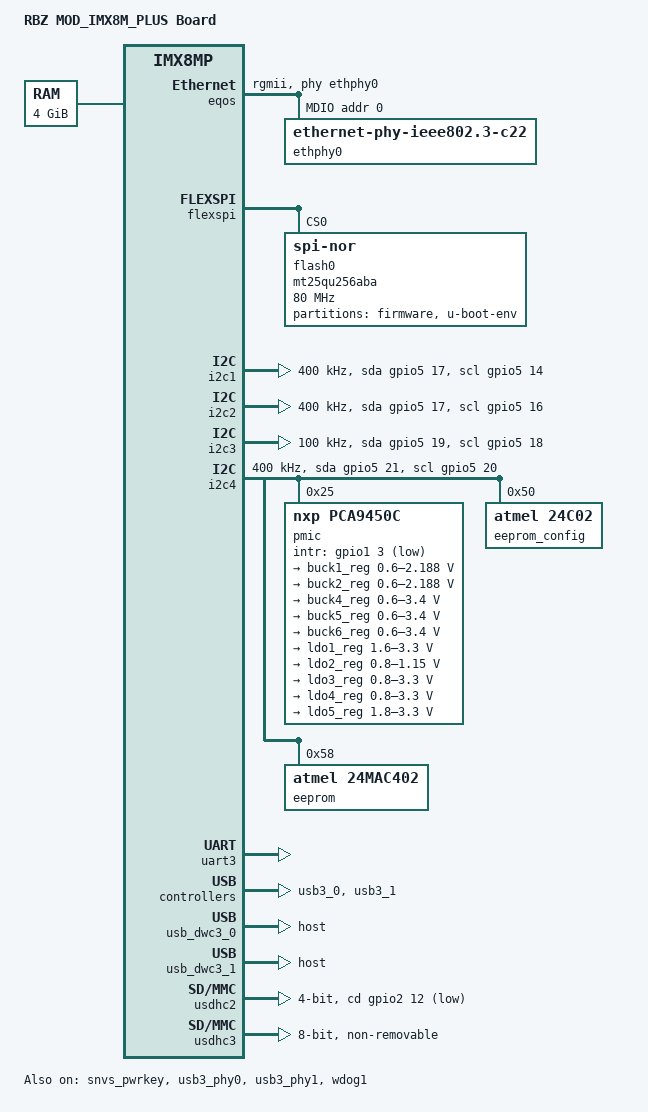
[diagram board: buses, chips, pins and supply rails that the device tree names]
// SPDX-License-Identifier: (GPL-2.0+ OR MIT)
/*
 * Copyright 2019 NXP
 */

/dts-v1/;

#include <dt-bindings/usb/pd.h>
#include "imx8mp.dtsi"

/ {
	model = "RBZ MOD_IMX8M_PLUS Board";
	compatible = "fsl,imx8mp-evk", "fsl,imx8mp";

	chosen {
		bootargs = "console=ttymxc2,115200";
		stdout-path = &uart3;
        rbz,eeprom = &eeprom;
        rbz,eeprom_config = &eeprom_config;
	};

    aliases {
      /delete-property/ ethernet0;
      /delete-property/ ethernet1;
      ethernet0 = &eqos;
    };


	memory@40000000 {
		device_type = "memory";
		reg = <0x0 0x40000000 0 0x80000000>,
		      <0x1 0x00000000 0 0x80000000>;
	};
};

&eqos {
	pinctrl-names = "default";
	pinctrl-0 = <&pinctrl_eqos>;
	phy-mode = "rgmii";
	phy-handle = <&ethphy0>;
	status = "okay";

	mdio {
		compatible = "snps,dwmac-mdio";
		#address-cells = <1>;
		#size-cells = <0>;

		ethphy0: ethernet-phy@0 {
			compatible = "ethernet-phy-ieee802.3-c22";
			reg = <0>;
			eee-broken-1000t;
		};
	};
};

&flexspi {
	pinctrl-names = "default";
	pinctrl-0 = <&pinctrl_flexspi0>;
	status = "okay";

	flash0: mt25qu256aba@0 {
		reg = <0>;
		#address-cells = <1>;
		#size-cells = <1>;
		compatible = "jedec,spi-nor";
		spi-max-frequency = <80000000>;
		spi-tx-bus-width = <4>;
		spi-rx-bus-width = <4>;

        partitions {
          compatible = "fixed-partitions";
          #address-cells = <1>;
          #size-cells = <1>;
          
          partition@firmware {
            reg = <0 CONFIG_ENV_OFFSET>;
            label = "firmware";
          };

          partition@u-boot-env {
            reg = <CONFIG_ENV_OFFSET CONFIG_ENV_SIZE>;
            label = "u-boot-env";
          };
        };
	};
};

&i2c1 {
    clock-frequency = <400000>;
    pinctrl-names = "default", "gpio";
    pinctrl-0 = <&pinctrl_i2c1>;
    pinctrl-1 = <&pinctrl_i2c1_gpio>;
    scl-gpios = <&gpio5 14 GPIO_ACTIVE_HIGH>;
    sda-gpios = <&gpio5 17 GPIO_ACTIVE_HIGH>;
    status = "okay";
};

&i2c2 {
	clock-frequency = <400000>;
	pinctrl-names = "default", "gpio";
	pinctrl-0 = <&pinctrl_i2c2>;
	pinctrl-1 = <&pinctrl_i2c2_gpio>;
	scl-gpios = <&gpio5 16 GPIO_ACTIVE_HIGH>;
	sda-gpios = <&gpio5 17 GPIO_ACTIVE_HIGH>;
	status = "okay";
};

&i2c3 {
	clock-frequency = <100000>;
	pinctrl-names = "default", "gpio";
	pinctrl-0 = <&pinctrl_i2c3>;
	pinctrl-1 = <&pinctrl_i2c3_gpio>;
	scl-gpios = <&gpio5 18 GPIO_ACTIVE_HIGH>;
	sda-gpios = <&gpio5 19 GPIO_ACTIVE_HIGH>;
	status = "okay";
};

&i2c4 {
	clock-frequency = <400000>;
	pinctrl-names = "default", "gpio";
	pinctrl-0 = <&pinctrl_i2c4>;
	pinctrl-1 = <&pinctrl_i2c4_gpio>;
	scl-gpios = <&gpio5 20 GPIO_ACTIVE_HIGH>;
	sda-gpios = <&gpio5 21 GPIO_ACTIVE_HIGH>;
	status = "okay";

	pmic: pca9450@25 {
		reg = <0x25>;
		compatible = "nxp,pca9450c";
		/* PMIC PCA9450 PMIC_nINT GPIO1_IO3 */
		pinctrl-0 = <&pinctrl_pmic>;
		gpio_intr = <&gpio1 3 GPIO_ACTIVE_LOW>;

		regulators {
			#address-cells = <1>;
			#size-cells = <0>;

			pca9450,pmic-buck2-uses-i2c-dvs;
			/* Run/Standby voltage */
			pca9450,pmic-buck2-dvs-voltage = <950000>, <850000>;

			buck1_reg: regulator@0 {
				reg = <0>;
				regulator-compatible = "buck1";
				regulator-min-microvolt = <600000>;
				regulator-max-microvolt = <2187500>;
				regulator-boot-on;
				regulator-always-on;
				regulator-ramp-delay = <3125>;
			};

			buck2_reg: regulator@1 {
				reg = <1>;
				regulator-compatible = "buck2";
				regulator-min-microvolt = <600000>;
				regulator-max-microvolt = <2187500>;
				regulator-boot-on;
				regulator-always-on;
				regulator-ramp-delay = <3125>;
			};

			buck4_reg: regulator@3 {
				reg = <3>;
				regulator-compatible = "buck4";
				regulator-min-microvolt = <600000>;
				regulator-max-microvolt = <3400000>;
				regulator-boot-on;
				regulator-always-on;
			};

			buck5_reg: regulator@4 {
				reg = <4>;
				regulator-compatible = "buck5";
				regulator-min-microvolt = <600000>;
				regulator-max-microvolt = <3400000>;
				regulator-boot-on;
				regulator-always-on;
			};

			buck6_reg: regulator@5 {
				reg = <5>;
				regulator-compatible = "buck6";
				regulator-min-microvolt = <600000>;
				regulator-max-microvolt = <3400000>;
				regulator-boot-on;
				regulator-always-on;
			};

			ldo1_reg: regulator@6 {
				reg = <6>;
				regulator-compatible = "ldo1";
				regulator-min-microvolt = <1600000>;
				regulator-max-microvolt = <3300000>;
				regulator-boot-on;
				regulator-always-on;
			};

			ldo2_reg: regulator@7 {
				reg = <7>;
				regulator-compatible = "ldo2";
				regulator-min-microvolt = <800000>;
				regulator-max-microvolt = <1150000>;
				regulator-boot-on;
				regulator-always-on;
			};

			ldo3_reg: regulator@8 {
				reg = <8>;
				regulator-compatible = "ldo3";
				regulator-min-microvolt = <800000>;
				regulator-max-microvolt = <3300000>;
				regulator-boot-on;
				regulator-always-on;
			};

			ldo4_reg: regulator@9 {
				reg = <9>;
				regulator-compatible = "ldo4";
				regulator-min-microvolt = <800000>;
				regulator-max-microvolt = <3300000>;
				regulator-boot-on;
				regulator-always-on;
			};

			ldo5_reg: regulator@10 {
				reg = <10>;
				regulator-compatible = "ldo5";
				regulator-min-microvolt = <1800000>;
				regulator-max-microvolt = <3300000>;
			};
		};
	};
  
    eeprom_config: eeprom_config@50 {
        compatible = "atmel,24c02";
        reg = <0x50>;
    };
    
    eeprom: eeprom@58 {
        compatible = "atmel,24mac402";
        reg = <0x58>;
    };
};

&snvs_pwrkey {
	status = "okay";
};

&uart3 {
	/* console */
	pinctrl-names = "default";
	pinctrl-0 = <&pinctrl_uart3>;
	status = "okay";
};

&usb3_phy0 {
	fsl,phy-tx-vref-tune = <0xb>;
	fsl,phy-tx-preemp-amp-tune = <3>;
	status = "okay";
};

&usb3_0 {
	status = "okay";
};

&usb_dwc3_0 {
	pinctrl-names = "default";
	pinctrl-0 = <&pinctrl_usb0_vbus>;
	dr_mode = "host";
	status = "okay";
};

&usb3_phy1 {
	fsl,phy-tx-preemp-amp-tune = <3>;
	fsl,phy-tx-vref-tune = <0xb>;
	status = "okay";
};

&usb3_1 {
	status = "okay";
};

&usb_dwc3_1 {
	pinctrl-names = "default";
	pinctrl-0 = <&pinctrl_usb1_vbus>;
	dr_mode = "host";
	status = "okay";
};

&usdhc2 {
	pinctrl-names = "default", "state_100mhz", "state_200mhz";
	pinctrl-0 = <&pinctrl_usdhc2>, <&pinctrl_usdhc2_gpio>;
	pinctrl-1 = <&pinctrl_usdhc2_100mhz>, <&pinctrl_usdhc2_gpio>;
	pinctrl-2 = <&pinctrl_usdhc2_200mhz>, <&pinctrl_usdhc2_gpio>;
	cd-gpios = <&gpio2 12 GPIO_ACTIVE_LOW>;
	bus-width = <4>;
    no-1-8-v;
	status = "okay";
};

&usdhc3 {
	pinctrl-names = "default", "state_100mhz", "state_200mhz";
	pinctrl-0 = <&pinctrl_usdhc3>;
	pinctrl-1 = <&pinctrl_usdhc3_100mhz>;
	pinctrl-2 = <&pinctrl_usdhc3_200mhz>;
	bus-width = <8>;
	non-removable;
	status = "okay";
};

&wdog1 {
	pinctrl-names = "default";
	pinctrl-0 = <&pinctrl_wdog>;
	fsl,ext-reset-output;
	status = "okay";
};

&iomuxc {
    pinctrl-0 = <&pinctrl_hog>;
	pinctrl-names = "default";

    pinctrl_hog: hoggrp {
      fsl,pins = <
        MX8MP_IOMUXC_SPDIF_EXT_CLK__GPIO5_IO05 0x140
        MX8MP_IOMUXC_NAND_DQS__GPIO3_IO14 0x140
      >;
    };
        
	pinctrl_eqos: eqosgrp {
		fsl,pins = <
			MX8MP_IOMUXC_ENET_MDC__ENET_QOS_MDC	0x3
			MX8MP_IOMUXC_ENET_MDIO__ENET_QOS_MDIO	0x3
			MX8MP_IOMUXC_ENET_RD0__ENET_QOS_RGMII_RD0	0x91
			MX8MP_IOMUXC_ENET_RD1__ENET_QOS_RGMII_RD1	0x91
			MX8MP_IOMUXC_ENET_RD2__ENET_QOS_RGMII_RD2	0x91
			MX8MP_IOMUXC_ENET_RD3__ENET_QOS_RGMII_RD3	0x91
			MX8MP_IOMUXC_ENET_RXC__CCM_ENET_QOS_CLOCK_GENERATE_RX_CLK	0x91
			MX8MP_IOMUXC_ENET_RX_CTL__ENET_QOS_RGMII_RX_CTL	0x91
			MX8MP_IOMUXC_ENET_TD0__ENET_QOS_RGMII_TD0		0x1f
			MX8MP_IOMUXC_ENET_TD1__ENET_QOS_RGMII_TD1		0x1f
			MX8MP_IOMUXC_ENET_TD2__ENET_QOS_RGMII_TD2		0x1f
			MX8MP_IOMUXC_ENET_TD3__ENET_QOS_RGMII_TD3		0x1f
			MX8MP_IOMUXC_ENET_TX_CTL__ENET_QOS_RGMII_TX_CTL	0x1f
			MX8MP_IOMUXC_ENET_TXC__CCM_ENET_QOS_CLOCK_GENERATE_TX_CLK	0x1f
            MX8MP_IOMUXC_GPIO1_IO01__GPIO1_IO01      0x19
            MX8MP_IOMUXC_GPIO1_IO09__GPIO1_IO09     0x1c4
		>;
	};

	pinctrl_flexspi0: flexspi0grp {
		fsl,pins = <
			MX8MP_IOMUXC_NAND_ALE__FLEXSPI_A_SCLK		0x1c2
			MX8MP_IOMUXC_NAND_CE0_B__FLEXSPI_A_SS0_B	0x82
			MX8MP_IOMUXC_NAND_DATA00__FLEXSPI_A_DATA00	0x82
			MX8MP_IOMUXC_NAND_DATA01__FLEXSPI_A_DATA01	0x82
			MX8MP_IOMUXC_NAND_DATA02__FLEXSPI_A_DATA02	0x82
			MX8MP_IOMUXC_NAND_DATA03__FLEXSPI_A_DATA03	0x82
		>;
	};

	pinctrl_i2c1: i2c1grp {
		fsl,pins = <
			MX8MP_IOMUXC_I2C1_SCL__I2C1_SCL		0x400001c3
			MX8MP_IOMUXC_I2C1_SDA__I2C1_SDA		0x400001c3
		>;
	};

	pinctrl_i2c2: i2c2grp {
		fsl,pins = <
			MX8MP_IOMUXC_I2C2_SCL__I2C2_SCL			0x400001c3
			MX8MP_IOMUXC_I2C2_SDA__I2C2_SDA			0x400001c3
		>;
	};

	pinctrl_i2c3: i2c3grp {
		fsl,pins = <
			MX8MP_IOMUXC_I2C3_SCL__I2C3_SCL			0x400001c3
			MX8MP_IOMUXC_I2C3_SDA__I2C3_SDA			0x400001c3
		>;
	};

	pinctrl_i2c4: i2c4grp {
		fsl,pins = <
			MX8MP_IOMUXC_I2C4_SCL__I2C4_SCL			0x400001c3
			MX8MP_IOMUXC_I2C4_SDA__I2C4_SDA			0x400001c3
		>;
	};

	pinctrl_i2c1_gpio: i2c1grp-gpio {
		fsl,pins = <
			MX8MP_IOMUXC_I2C1_SCL__GPIO5_IO14        	0x1c3
			MX8MP_IOMUXC_I2C1_SDA__GPIO5_IO15        	0x1c3
		>;
	};

	pinctrl_i2c2_gpio: i2c2grp-gpio {
		fsl,pins = <
			MX8MP_IOMUXC_I2C2_SCL__GPIO5_IO16        	0x1c3
			MX8MP_IOMUXC_I2C2_SDA__GPIO5_IO17        	0x1c3
		>;
	};

	pinctrl_i2c3_gpio: i2c3grp-gpio {
		fsl,pins = <
			MX8MP_IOMUXC_I2C3_SCL__GPIO5_IO18        	0x1c3
			MX8MP_IOMUXC_I2C3_SDA__GPIO5_IO19        	0x1c3
		>;
	};

	pinctrl_i2c4_gpio: i2c4grp-gpio {
		fsl,pins = <
			MX8MP_IOMUXC_I2C4_SCL__GPIO5_IO20        	0x1c3
			MX8MP_IOMUXC_I2C4_SDA__GPIO5_IO21        	0x1c3
		>;
	};

	pinctrl_pmic: pmicirq {
		fsl,pins = <
			MX8MP_IOMUXC_GPIO1_IO03__GPIO1_IO03	0x41
		>;
	};

	pinctrl_uart3: uart3grp {
		fsl,pins = <
			MX8MP_IOMUXC_UART3_RXD__UART3_DCE_RX	0x49
			MX8MP_IOMUXC_UART3_TXD__UART3_DCE_TX	0x49
		>;
	};

	pinctrl_usb0_vbus: usb0grp {
		fsl,pins = <
			MX8MP_IOMUXC_GPIO1_IO12__GPIO1_IO12	0x19
		>;
	};

	pinctrl_usb1_vbus: usb1grp {
		fsl,pins = <
			MX8MP_IOMUXC_GPIO1_IO14__GPIO1_IO14	0x19
		>;
	};

	pinctrl_usdhc2: usdhc2grp {
		fsl,pins = <
			MX8MP_IOMUXC_SD2_CLK__USDHC2_CLK	0x190
			MX8MP_IOMUXC_SD2_CMD__USDHC2_CMD	0x1d0
			MX8MP_IOMUXC_SD2_DATA0__USDHC2_DATA0	0x1d0
			MX8MP_IOMUXC_SD2_DATA1__USDHC2_DATA1	0x1d0
			MX8MP_IOMUXC_SD2_DATA2__USDHC2_DATA2	0x1d0
			MX8MP_IOMUXC_SD2_DATA3__USDHC2_DATA3	0x1d0
			MX8MP_IOMUXC_GPIO1_IO04__USDHC2_VSELECT	0xc1
		>;
	};

	pinctrl_usdhc2_100mhz: usdhc2-100mhzgrp {
		fsl,pins = <
			MX8MP_IOMUXC_SD2_CLK__USDHC2_CLK	0x194
			MX8MP_IOMUXC_SD2_CMD__USDHC2_CMD	0x1d4
			MX8MP_IOMUXC_SD2_DATA0__USDHC2_DATA0	0x1d4
			MX8MP_IOMUXC_SD2_DATA1__USDHC2_DATA1	0x1d4
			MX8MP_IOMUXC_SD2_DATA2__USDHC2_DATA2	0x1d4
			MX8MP_IOMUXC_SD2_DATA3__USDHC2_DATA3	0x1d4
			MX8MP_IOMUXC_GPIO1_IO04__USDHC2_VSELECT 0xc1
		>;
	};

	pinctrl_usdhc2_200mhz: usdhc2-200mhzgrp {
		fsl,pins = <
			MX8MP_IOMUXC_SD2_CLK__USDHC2_CLK	0x196
			MX8MP_IOMUXC_SD2_CMD__USDHC2_CMD	0x1d6
			MX8MP_IOMUXC_SD2_DATA0__USDHC2_DATA0	0x1d6
			MX8MP_IOMUXC_SD2_DATA1__USDHC2_DATA1	0x1d6
			MX8MP_IOMUXC_SD2_DATA2__USDHC2_DATA2	0x1d6
			MX8MP_IOMUXC_SD2_DATA3__USDHC2_DATA3	0x1d6
			MX8MP_IOMUXC_GPIO1_IO04__USDHC2_VSELECT 0xc1
		>;
	};

	pinctrl_usdhc2_gpio: usdhc2gpiogrp {
		fsl,pins = <
			MX8MP_IOMUXC_SD2_CD_B__GPIO2_IO12	0x1c4
		>;
	};

	pinctrl_usdhc3: usdhc3grp {
		fsl,pins = <
			MX8MP_IOMUXC_NAND_WE_B__USDHC3_CLK	0x190
			MX8MP_IOMUXC_NAND_WP_B__USDHC3_CMD	0x1d0
			MX8MP_IOMUXC_NAND_DATA04__USDHC3_DATA0	0x1d0
			MX8MP_IOMUXC_NAND_DATA05__USDHC3_DATA1	0x1d0
			MX8MP_IOMUXC_NAND_DATA06__USDHC3_DATA2	0x1d0
			MX8MP_IOMUXC_NAND_DATA07__USDHC3_DATA3	0x1d0
			MX8MP_IOMUXC_NAND_RE_B__USDHC3_DATA4	0x1d0
			MX8MP_IOMUXC_NAND_CE2_B__USDHC3_DATA5	0x1d0
			MX8MP_IOMUXC_NAND_CE3_B__USDHC3_DATA6	0x1d0
			MX8MP_IOMUXC_NAND_CLE__USDHC3_DATA7	0x1d0
			MX8MP_IOMUXC_NAND_CE1_B__USDHC3_STROBE	0x190
            MX8MP_IOMUXC_NAND_READY_B__USDHC3_RESET_B 0x1d1
		>;
	};

	pinctrl_usdhc3_100mhz: usdhc3-100mhzgrp {
		fsl,pins = <
			MX8MP_IOMUXC_NAND_WE_B__USDHC3_CLK	0x194
			MX8MP_IOMUXC_NAND_WP_B__USDHC3_CMD	0x1d4
			MX8MP_IOMUXC_NAND_DATA04__USDHC3_DATA0	0x1d4
			MX8MP_IOMUXC_NAND_DATA05__USDHC3_DATA1	0x1d4
			MX8MP_IOMUXC_NAND_DATA06__USDHC3_DATA2	0x1d4
			MX8MP_IOMUXC_NAND_DATA07__USDHC3_DATA3	0x1d4
			MX8MP_IOMUXC_NAND_RE_B__USDHC3_DATA4	0x1d4
			MX8MP_IOMUXC_NAND_CE2_B__USDHC3_DATA5	0x1d4
			MX8MP_IOMUXC_NAND_CE3_B__USDHC3_DATA6	0x1d4
			MX8MP_IOMUXC_NAND_CLE__USDHC3_DATA7	0x1d4
			MX8MP_IOMUXC_NAND_CE1_B__USDHC3_STROBE	0x194
            MX8MP_IOMUXC_NAND_READY_B__USDHC3_RESET_B 0x1d1
		>;
	};

	pinctrl_usdhc3_200mhz: usdhc3-200mhzgrp {
		fsl,pins = <
			MX8MP_IOMUXC_NAND_WE_B__USDHC3_CLK	0x196
			MX8MP_IOMUXC_NAND_WP_B__USDHC3_CMD	0x1d6
			MX8MP_IOMUXC_NAND_DATA04__USDHC3_DATA0	0x1d6
			MX8MP_IOMUXC_NAND_DATA05__USDHC3_DATA1	0x1d6
			MX8MP_IOMUXC_NAND_DATA06__USDHC3_DATA2	0x1d6
			MX8MP_IOMUXC_NAND_DATA07__USDHC3_DATA3	0x1d6
			MX8MP_IOMUXC_NAND_RE_B__USDHC3_DATA4	0x1d6
			MX8MP_IOMUXC_NAND_CE2_B__USDHC3_DATA5	0x1d6
			MX8MP_IOMUXC_NAND_CE3_B__USDHC3_DATA6	0x1d6
			MX8MP_IOMUXC_NAND_CLE__USDHC3_DATA7	0x1d6
			MX8MP_IOMUXC_NAND_CE1_B__USDHC3_STROBE	0x196
            MX8MP_IOMUXC_NAND_READY_B__USDHC3_RESET_B 0x1d1
		>;
	};

	pinctrl_wdog: wdoggrp {
		fsl,pins = <
			MX8MP_IOMUXC_GPIO1_IO02__WDOG1_WDOG_B	0xc6
		>;
	};
};
